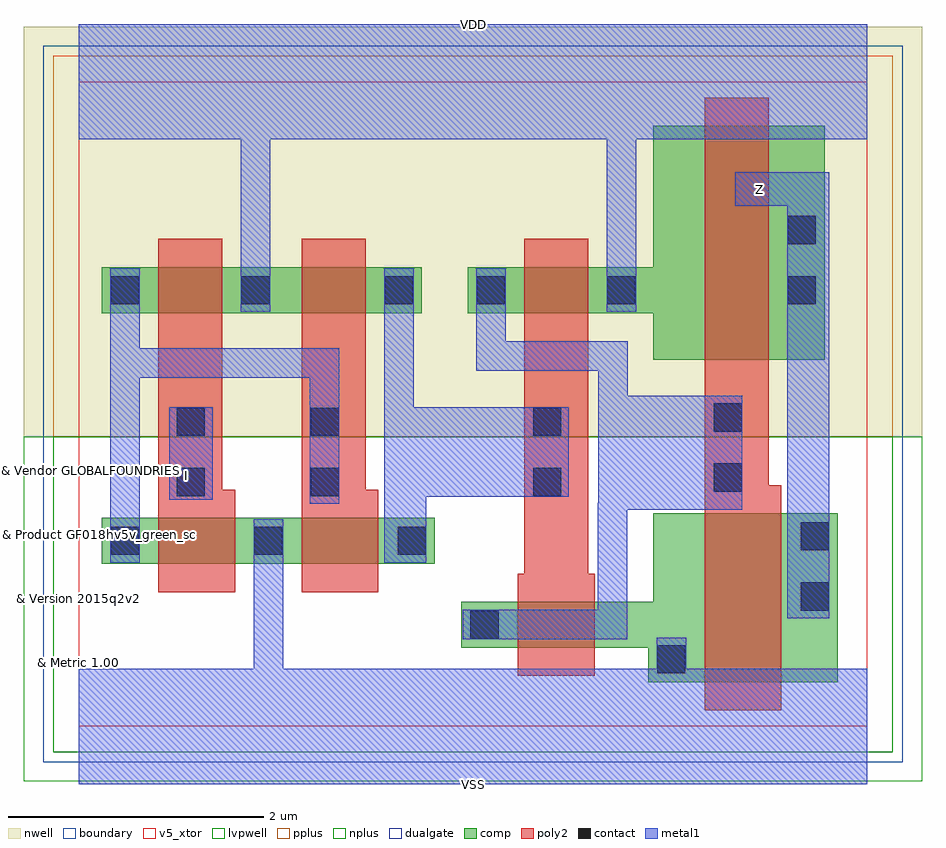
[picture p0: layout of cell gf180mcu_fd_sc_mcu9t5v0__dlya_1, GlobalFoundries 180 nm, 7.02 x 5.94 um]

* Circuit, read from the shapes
.subckt gf180mcu_fd_sc_mcu9t5v0__dlya_1 I VDD VSS Z
XM1 VSS I n1 VSUBS nfet_05v0 w=0.36u l=0.6u
XM2 n2 n1 VSS VSUBS nfet_05v0 w=0.36u l=0.6u
XM3 VSS n2 n3 VSUBS nfet_05v0 w=0.36u l=0.6u
XM4 Z n3 VSS VSUBS nfet_05v0 w=1.32u l=0.6u
XM5 VDD I n1 n4 pfet_05v0 w=0.36u l=0.5u
XM6 n2 n1 VDD n4 pfet_05v0 w=0.36u l=0.5u
XM7 VDD n2 n3 n4 pfet_05v0 w=0.36u l=0.5u
XM8 Z n3 VDD n4 pfet_05v0 w=1.83u l=0.5u
.ends

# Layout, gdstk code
import gdstk
lib = gdstk.Library(unit=1e-6, precision=1e-09)
def R(c, l, rs):  # rectangles x0, y0, x1, y1
    for r in rs: c.add(gdstk.rectangle(r[:2], r[2:], *l))
def A(c, l, x, y, w, h, nx, ny, dx, dy):  # array of equal rectangles
    R(c, l, [(x+i*dx, y+j*dy, x+i*dx+w, y+j*dy+h) for i in range(nx) for j in range(ny)])
def P(c, l, *ps):  # polygons
    for p in ps: c.add(gdstk.Polygon(p, *l))
boundary = (0, 0)
nwell = (21, 0)
comp = (22, 0)
poly2 = (30, 0)
pplus = (31, 0)
nplus = (32, 0)
contact = (33, 0)
metal1 = (34, 0)
dualgate = (55, 0)
v5_xtor = (112, 1)
lvpwell = (204, 0)

gf180mcu_fd_sc_mcu9t5v0_ = lib.new_cell('gf180mcu_fd_sc_mcu9t5v0__dlya_1')
R(gf180mcu_fd_sc_mcu9t5v0_, boundary, [(0,0,6.16,5.04)])
R(gf180mcu_fd_sc_mcu9t5v0_, nwell, [(-0.43,2.265,6.59,5.47)])
R(gf180mcu_fd_sc_mcu9t5v0_, comp, [(0.18,1.27,2.78,1.63), (0.18,3.23,2.68,3.59)])
P(gf180mcu_fd_sc_mcu9t5v0_, comp, [(4.49,2.865),(4.49,3.23),(3.04,3.23),(3.04,3.59),(4.49,3.59),(4.49,4.695),(5.83,4.695),(5.83,2.865)],
  [(4.45,0.345),(4.45,0.615),(2.99,0.615),(2.99,0.975),(4.49,0.975),(4.49,1.665),(5.93,1.665),(5.93,0.345)])
P(gf180mcu_fd_sc_mcu9t5v0_, poly2, [(0.62,1.05),(0.62,3.81),(1.12,3.81),(1.12,1.85),(1.22,1.85),(1.22,1.05)],
  [(1.74,1.05),(1.74,3.81),(2.24,3.81),(2.24,1.85),(2.34,1.85),(2.34,1.05)],
  [(3.43,0.395),(3.43,1.195),(3.48,1.195),(3.48,3.81),(3.98,3.81),(3.98,1.195),(4.03,1.195),(4.03,0.395)],
  [(4.89,0.125),(4.89,4.915),(5.39,4.915),(5.39,1.885),(5.49,1.885),(5.49,0.125)])
R(gf180mcu_fd_sc_mcu9t5v0_, pplus, [(-0.2,2.265,6.36,5.24)])
R(gf180mcu_fd_sc_mcu9t5v0_, nplus, [(-0.2,-0.2,6.36,2.265)])
A(gf180mcu_fd_sc_mcu9t5v0_, contact, 0.25, 1.34, 0.22, 0.22, 3, 1, 1.12, 0)
R(gf180mcu_fd_sc_mcu9t5v0_, contact, [(4.52,0.415,4.74,0.635), (3.06,0.685,3.28,0.905), (5.64,0.905,5.86,1.125), (5.64,1.375,5.86,1.595), (0.765,1.8,0.985,2.02), (1.81,1.8,2.03,2.02), (3.55,1.8,3.77,2.02), (4.96,1.835,5.18,2.055), (0.765,2.27,0.985,2.49), (1.81,2.27,2.03,2.49), (3.55,2.27,3.77,2.49), (4.96,2.305,5.18,2.525), (0.25,3.3,0.47,3.52), (1.27,3.3,1.49,3.52), (2.39,3.3,2.61,3.52), (3.11,3.3,3.33,3.52), (4.13,3.3,4.35,3.52), (5.54,3.3,5.76,3.52), (5.54,3.77,5.76,3.99)])
R(gf180mcu_fd_sc_mcu9t5v0_, metal1, [(0.705,1.77,1.045,2.495)])
P(gf180mcu_fd_sc_mcu9t5v0_, metal1, [(0.245,1.28),(0.245,3.58),(0.475,3.58),(0.475,2.955),(2.035,2.955),(2.035,1.74),(1.805,1.74),(1.805,2.725),(0.475,2.725),(0.475,1.28)],
  [(2.385,1.28),(2.385,3.58),(2.615,3.58),(2.615,2.495),(3.83,2.495),(3.83,1.795),(2.715,1.795),(2.715,1.28)],
  [(3,0.68),(3,0.91),(4.055,0.91),(4.055,1.745),(4.06,1.745),(4.06,2.78),(3.105,2.78),(3.105,3.58),(3.335,3.58),(3.335,3.01),(4.29,3.01),(4.29,2.585),(5.185,2.585),(5.185,1.695),(4.285,1.695),(4.285,0.68)],
  [(5.535,0.845),(5.535,4.07),(5.13,4.07),(5.13,4.33),(5.865,4.33),(5.865,0.845)],
  [(0,-0.45),(0,0.45),(1.365,0.45),(1.365,1.62),(1.595,1.62),(1.595,0.45),(4.515,0.45),(4.515,0.695),(4.745,0.695),(4.745,0.45),(6.16,0.45),(6.16,-0.45)],
  [(1.265,3.24),(1.265,4.59),(0,4.59),(0,5.49),(6.16,5.49),(6.16,4.59),(4.355,4.59),(4.355,3.24),(4.125,3.24),(4.125,4.59),(1.495,4.59),(1.495,3.24)])
R(gf180mcu_fd_sc_mcu9t5v0_, dualgate, [(-0.28,-0.28,6.44,5.32)])
R(gf180mcu_fd_sc_mcu9t5v0_, v5_xtor, [(0,0,6.16,5.04)])
R(gf180mcu_fd_sc_mcu9t5v0_, lvpwell, [(-0.43,-0.43,6.59,2.265)])
gf180mcu_fd_sc_mcu9t5v0_.add(gdstk.Label('I', (0.84,1.96), layer=34, texttype=10))
gf180mcu_fd_sc_mcu9t5v0_.add(gdstk.Label('VDD', (3.08,5.49), layer=34, texttype=10))
gf180mcu_fd_sc_mcu9t5v0_.add(gdstk.Label('VSS', (3.08,-0.45), layer=34, texttype=10))
gf180mcu_fd_sc_mcu9t5v0_.add(gdstk.Label('Z', (5.32,4.2), layer=34, texttype=10))
gf180mcu_fd_sc_mcu9t5v0_.add(gdstk.Label('& Vendor GLOBALFOUNDRIES', (0,2), layer=63, texttype=63))
gf180mcu_fd_sc_mcu9t5v0_.add(gdstk.Label('& Product GF018hv5v_green_sc9', (0,1.5), layer=63, texttype=63))
gf180mcu_fd_sc_mcu9t5v0_.add(gdstk.Label('& Version 2015q2v2', (0,1), layer=63, texttype=63))
gf180mcu_fd_sc_mcu9t5v0_.add(gdstk.Label('& Metric 1.00', (0,0.5), layer=63, texttype=63))

lib.write_gds('gf180mcu_fd_sc_mcu9t5v0__dlya_1.gds')
